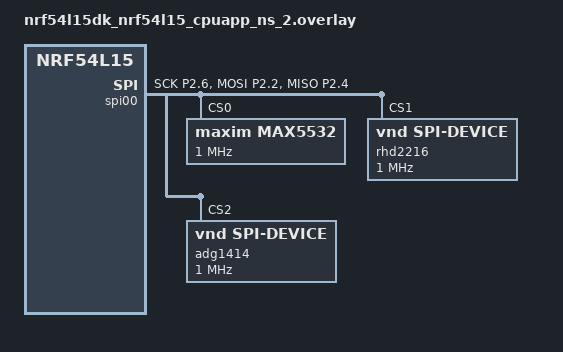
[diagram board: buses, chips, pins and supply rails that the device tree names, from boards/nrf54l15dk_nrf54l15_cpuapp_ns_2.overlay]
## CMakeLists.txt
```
cmake_minimum_required(VERSION 3.20.0)
find_package(Zephyr REQUIRED HINTS $ENV{ZEPHYR_BASE})

project(test)

target_sources(app PRIVATE src/mainRecording.c)
```

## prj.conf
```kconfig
CONFIG_GPIO=y
CONFIG_PINCTRL=y
CONFIG_SPI=y

# Optional: Enable logging and printk
CONFIG_PRINTK=y
# CONFIG_LOG_MODE_DEFERRED=y
CONFIG_LOG_MODE_IMMEDIATE=y

# Optional: Enable main thread
CONFIG_MAIN_STACK_SIZE=1024

# Logging over RTT instead of UART
CONFIG_USE_SEGGER_RTT=y
CONFIG_LOG=y
CONFIG_LOG_BACKEND_RTT=y
CONFIG_LOG_BACKEND_UART=n

# Disable console (optional if you don’t need printk)
CONFIG_CONSOLE=y
CONFIG_UART_CONSOLE=n
CONFIG_RTT_CONSOLE=y
CONFIG_SERIAL=n

CONFIG_CLOCK_CONTROL_NRF_K32SRC_RC=y
CONFIG_CLOCK_CONTROL_NRF_K32SRC_XTAL=n
CONFIG_CLOCK_CONTROL_NRF_CALIBRATION_LF_ALWAYS_ON=y
CONFIG_CLOCK_CONTROL_NRF_K32SRC_500PPM=y

# BLE 
CONFIG_BT=y
CONFIG_BT_PERIPHERAL=y
CONFIG_BT_DEVICE_NAME="NeuralImplant"
CONFIG_BT_DEVICE_APPEARANCE=0
CONFIG_BT_MAX_CONN=1

# CONFIG_SPI_NRFX=y
```

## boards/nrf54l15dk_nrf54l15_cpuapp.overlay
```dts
/* 
&spi00 {
    compatible = "nordic,nrf-spim";
    status = "okay";
    pinctrl-0 = <&spi00_default>;
    pinctrl-1 = <&spi00_sleep>;
    pinctrl-names = "default", "sleep";

    cs-gpios = <&gpio2 10 GPIO_ACTIVE_LOW>;  // P2.10 = CS

    max5532: max5532@0 {
        compatible = "vnd,spi-device";
        //label = "max5532";         // <--- REQUIRED
        reg = <0>;                          // CS index 0
        spi-max-frequency = <10000000>;     // 10 MHz
    };
};

&pinctrl {
    spi00_default: spi00_default {
        group1 {
            psels = <NRF_PSEL(SPIM_SCK, 2, 6)>,    // P2.06 = SCK
                    <NRF_PSEL(SPIM_MOSI, 2, 2)>;   // P2.02 = MOSI
            // MISO not needed
        };
    };

    spi00_sleep: spi00_sleep {
        group1 {
            psels = <NRF_PSEL(SPIM_SCK, 2, 6)>,
                    <NRF_PSEL(SPIM_MOSI, 2, 2)>;
            low-power-enable;
        };
    };
};

&uart00 {
    status = "disabled";
};

*/

&spi00 {
    compatible = "nordic,nrf-spim";
    status = "okay";
    pinctrl-0 = <&spi00_default>;
    pinctrl-1 = <&spi00_sleep>;
    pinctrl-names = "default", "sleep";

    max5532: max5532@0 {
        compatible = "vnd,spi-device";
        label = "max5532";         // <--- REQUIRED
        reg = <0>;
        spi-max-frequency = <10000000>;
    };
};

&pinctrl {
    spi00_default: spi00_default {
        group1 {
            psels = <NRF_PSEL(SPIM_SCK, 2, 6)>,
                    <NRF_PSEL(SPIM_MOSI, 2, 2)>;
        };
    };

    spi00_sleep: spi00_sleep {
        group1 {
            psels = <NRF_PSEL(SPIM_SCK, 2, 6)>,
                    <NRF_PSEL(SPIM_MOSI, 2, 2)>;
            low-power-enable;
        };
    };
};

&uart00 {
    status = "disabled";
};
```

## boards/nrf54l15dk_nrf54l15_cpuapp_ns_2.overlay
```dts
/*
&spi00 {
    compatible = "nordic,nrf-spim";
    status = "okay";
    pinctrl-0 = <&spi00_default>;
    pinctrl-1 = <&spi00_sleep>;
    pinctrl-names = "default", "sleep";

    max5532: max5532@0 {
        compatible = "maxim,max5532";
        reg = <0>;
        spi-max-frequency = <10000000>;
    };
};

&pinctrl {
    spi00_default: spi00_default {
        group1 {
            psels = <NRF_PSEL(SPIM_SCK, 2, 6)>,
                    <NRF_PSEL(SPIM_MOSI, 2, 2)>;
        };
    };

    spi00_sleep: spi00_sleep {
        group1 {
            psels = <NRF_PSEL(SPIM_SCK, 2, 6)>,
                    <NRF_PSEL(SPIM_MOSI, 2, 2)>;
            low-power-enable;
        };
    };
};

&mx25r64 {
    status = "disabled";
};
*/

&spi00 {
    compatible = "nordic,nrf-spim";
    status = "okay";
    pinctrl-0 = <&spi00_default>;
    pinctrl-1 = <&spi00_sleep>;
    pinctrl-names = "default", "sleep";

    max5532: max5532@0 {
        compatible = "maxim,max5532";
        reg = <0>;
        spi-max-frequency = <1000000>;
    };

    rhd2216: rhd2216@1 {
        compatible = "vnd,spi-device";
        reg = <1>;
        spi-max-frequency = <1000000>;
    };

    adg1414: adg1414@2 {
        compatible = "vnd,spi-device";
        reg = <2>;
        spi-max-frequency = <1000000>;
    };
};

&pinctrl {
    spi00_default: spi00_default {
        group1 {
            psels = <NRF_PSEL(SPIM_SCK, 2, 6)>,
                    <NRF_PSEL(SPIM_MOSI, 2, 2)>,
                    <NRF_PSEL(SPIM_MISO, 2, 4)>;
        };
    };

    spi00_sleep: spi00_sleep {
        group1 {
            psels = <NRF_PSEL(SPIM_SCK, 2, 6)>,
                    <NRF_PSEL(SPIM_MOSI, 2, 2)>,
                    <NRF_PSEL(SPIM_MISO, 2, 4)>;
            low-power-enable;
        };
    };
};

&mx25r64 {
    status = "disabled";
};
```

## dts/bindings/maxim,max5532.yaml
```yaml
# max5532.yaml
description: MAX5532 SPI DAC

compatible: "maxim,max5532"

include: spi-device.yaml

properties:
  vref-supply:
    type: phandle
    required: false
    description: Optional reference voltage supply
```

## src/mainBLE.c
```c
#include <zephyr/kernel.h>
#include <zephyr/bluetooth/bluetooth.h>
#include <zephyr/bluetooth/gap.h>
#include <zephyr/bluetooth/gatt.h>
#include <zephyr/bluetooth/uuid.h>
#include <zephyr/sys/printk.h>

// Custom Service UUID
#define BT_UUID_STIM_SERVICE_VAL \
    BT_UUID_128_ENCODE(0x12345678, 0x1234, 0x5678, 0x1234, 0x56789abcdef0)

// Characteristic UUIDs
#define BT_UUID_PULSE_WIDTH_VAL \
    BT_UUID_128_ENCODE(0x12345678, 0x1234, 0x5678, 0x1234, 0x56789abcdef1)

#define BT_UUID_FREQUENCY_VAL \
    BT_UUID_128_ENCODE(0x12345678, 0x1234, 0x5678, 0x1234, 0x56789abcdef2)

#define BT_UUID_AMPLITUDE_VAL \
    BT_UUID_128_ENCODE(0x12345678, 0x1234, 0x5678, 0x1234, 0x56789abcdef3)

#define BT_UUID_STIM_ENABLE_VAL \
    BT_UUID_128_ENCODE(0x12345678, 0x1234, 0x5678, 0x1234, 0x56789abcdef4)

static struct bt_uuid_128 stim_service_uuid = BT_UUID_INIT_128(BT_UUID_STIM_SERVICE_VAL);
static struct bt_uuid_128 pulse_width_uuid  = BT_UUID_INIT_128(BT_UUID_PULSE_WIDTH_VAL);
static struct bt_uuid_128 frequency_uuid    = BT_UUID_INIT_128(BT_UUID_FREQUENCY_VAL);
static struct bt_uuid_128 amplitude_uuid    = BT_UUID_INIT_128(BT_UUID_AMPLITUDE_VAL);
static struct bt_uuid_128 stim_enable_uuid  = BT_UUID_INIT_128(BT_UUID_STIM_ENABLE_VAL);

// Current stimulation parameters
static uint16_t pulse_width_us = 1000;   // default 1ms
static uint16_t frequency_hz   = 50;     // default 50Hz
static uint16_t amplitude_val  = 0xCBA;  // default 7.72mA DAC value
static uint8_t  stim_enabled   = 0;      // default off

// Write callbacks
static ssize_t write_pulse_width(struct bt_conn *conn,
                                  const struct bt_gatt_attr *attr,
                                  const void *buf, uint16_t len,
                                  uint16_t offset, uint8_t flags)
{
    if (len != sizeof(uint16_t)) {
        return BT_GATT_ERR(BT_ATT_ERR_INVALID_ATTRIBUTE_LEN);
    }
    memcpy(&pulse_width_us, buf, len);
    printk("Pulse width updated: %d us\n", pulse_width_us);
    return len;
}

static ssize_t write_frequency(struct bt_conn *conn,
                                const struct bt_gatt_attr *attr,
                                const void *buf, uint16_t len,
                                uint16_t offset, uint8_t flags)
{
    if (len != sizeof(uint16_t)) {
        return BT_GATT_ERR(BT_ATT_ERR_INVALID_ATTRIBUTE_LEN);
    }
    memcpy(&frequency_hz, buf, len);
    printk("Frequency updated: %d Hz\n", frequency_hz);
    return len;
}

static ssize_t write_amplitude(struct bt_conn *conn,
                                const struct bt_gatt_attr *attr,
                                const void *buf, uint16_t len,
                                uint16_t offset, uint8_t flags)
{
    if (len != sizeof(uint16_t)) {
        return BT_GATT_ERR(BT_ATT_ERR_INVALID_ATTRIBUTE_LEN);
    }
    memcpy(&amplitude_val, buf, len);
    printk("Amplitude updated: 0x%03X\n", amplitude_val);
    return len;
}

static ssize_t write_stim_enable(struct bt_conn *conn,
                                  const struct bt_gatt_attr *attr,
                                  const void *buf, uint16_t len,
                                  uint16_t offset, uint8_t flags)
{
    if (len != sizeof(uint8_t)) {
        return BT_GATT_ERR(BT_ATT_ERR_INVALID_ATTRIBUTE_LEN);
    }
    memcpy(&stim_enabled, buf, len);
    printk("Stim enable updated: %d\n", stim_enabled);
    return len;
}

// GATT Service Definition
BT_GATT_SERVICE_DEFINE(stim_svc,
    BT_GATT_PRIMARY_SERVICE(&stim_service_uuid),

    BT_GATT_CHARACTERISTIC(&pulse_width_uuid.uuid,
                            BT_GATT_CHRC_WRITE | BT_GATT_CHRC_WRITE_WITHOUT_RESP,
                            BT_GATT_PERM_WRITE,
                            NULL, write_pulse_width, &pulse_width_us),

    BT_GATT_CHARACTERISTIC(&frequency_uuid.uuid,
                            BT_GATT_CHRC_WRITE | BT_GATT_CHRC_WRITE_WITHOUT_RESP,
                            BT_GATT_PERM_WRITE,
                            NULL, write_frequency, &frequency_hz),

    BT_GATT_CHARACTERISTIC(&amplitude_uuid.uuid,
                            BT_GATT_CHRC_WRITE | BT_GATT_CHRC_WRITE_WITHOUT_RESP,
                            BT_GATT_PERM_WRITE,
                            NULL, write_amplitude, &amplitude_val),

    BT_GATT_CHARACTERISTIC(&stim_enable_uuid.uuid,
                            BT_GATT_CHRC_WRITE | BT_GATT_CHRC_WRITE_WITHOUT_RESP,
                            BT_GATT_PERM_WRITE,
                            NULL, write_stim_enable, &stim_enabled),
);

// Advertisement data
static const struct bt_data ad[] = {
    BT_DATA_BYTES(BT_DATA_FLAGS,
                  BT_LE_AD_GENERAL | BT_LE_AD_NO_BREDR),
    BT_DATA(BT_DATA_NAME_COMPLETE,
            CONFIG_BT_DEVICE_NAME,
            sizeof(CONFIG_BT_DEVICE_NAME) - 1),
};

// Connection callbacks
static void connected(struct bt_conn *conn, uint8_t err)
{
    if (err) {
        printk("Connection failed: %d\n", err);
        return;
    }
    printk("Connected!\n");
}

static void disconnected(struct bt_conn *conn, uint8_t reason)
{
    printk("Disconnected, reason: %d\n", reason);
    // Restart advertising after disconnect
    bt_le_adv_start(BT_LE_ADV_CONN, ad, ARRAY_SIZE(ad), NULL, 0);
}

static struct bt_conn_cb conn_callbacks = {
    .connected    = connected,
    .disconnected = disconnected,
};

static void bt_ready(int err)
{
    if (err) {
        printk("Bluetooth init failed: %d\n", err);
        return;
    }
    printk("Bluetooth initialized\n");

    bt_conn_cb_register(&conn_callbacks);

    err = bt_le_adv_start(BT_LE_ADV_CONN, ad, ARRAY_SIZE(ad), NULL, 0);
    if (err) {
        printk("Advertising failed to start: %d\n", err);
        return;
    }
    printk("Advertising as '%s'\n", CONFIG_BT_DEVICE_NAME);
}

void main(void)
{
    int err = bt_enable(bt_ready);
    if (err) {
        printk("bt_enable failed: %d\n", err);
        return;
    }

    while (1) {
        k_msleep(1000);
        printk("PW:%dus Freq:%dHz Amp:0x%03X En:%d\n",
               pulse_width_us, frequency_hz,
               amplitude_val, stim_enabled);
    }
}
```

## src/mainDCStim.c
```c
#include <zephyr/kernel.h>
#include <zephyr/device.h>
#include <zephyr/drivers/spi.h>
#include <zephyr/drivers/gpio.h>
#include <zephyr/sys/printk.h>

#define DAC_NODE DT_NODELABEL(max5532)

#define SPIOP (SPI_WORD_SET(8) | SPI_TRANSFER_MSB | SPI_MODE_CPOL | SPI_MODE_CPHA | SPI_CS_ACTIVE_HIGH)

struct spi_dt_spec spispec = SPI_DT_SPEC_GET(DAC_NODE, SPIOP, 0);
const struct device *port1 = DEVICE_DT_GET(DT_NODELABEL(gpio1));
const struct device *port2 = DEVICE_DT_GET(DT_NODELABEL(gpio2));

#define CS1_PIN 10
#define CS2_PIN  5
#define CS3_PIN  8

void cs_select(int cs)
{
    gpio_pin_set(port2, CS1_PIN, cs == 1 ? 0 : 1);
    gpio_pin_set(port2, CS2_PIN, cs == 2 ? 0 : 1);
    gpio_pin_set(port2, CS3_PIN, cs == 3 ? 0 : 1);
}

void cs_deselect_all(void)
{
    gpio_pin_set(port2, CS1_PIN, 1);
    gpio_pin_set(port2, CS2_PIN, 1);
    gpio_pin_set(port2, CS3_PIN, 1);
}

void send_dac_command(uint8_t command, uint16_t data)
{
    uint16_t word = ((command & 0x0F) << 12) | (data & 0x0FFF);

    uint8_t tx_buf[2] = {
        (uint8_t)(word >> 8),
        (uint8_t)(word & 0xFF)
    };

    struct spi_buf spi_buf = {
        .buf = tx_buf,
        .len = sizeof(tx_buf),
    };

    struct spi_buf_set tx = {
        .buffers = &spi_buf,
        .count = 1,
    };

    cs_select(1);
    k_msleep(1);
    int err = spi_write_dt(&spispec, &tx);
    cs_deselect_all();

    if (err == 0) {
        printk("DAC command sent: 0x%04X (cmd 0x%X, data 0x%03X)\n", word, command, data);
    } else {
        printk("SPI write failed: %d\n", err);
    }
}

void main(void)
{
    if (!device_is_ready(port1)) {
        printk("Port 1 not ready\n");
        return;
    }

    if (!device_is_ready(port2)) {
        printk("Port 2 not ready\n");
        return;
    }

    printk("Both ports ready\n");

    int ret;

    // MUX1_A0 - P1.00 - should be HIGH (1)
    ret = gpio_pin_configure(port1, 0, GPIO_OUTPUT);
    printk("P1.00 config ret: %d\n", ret);
    ret = gpio_pin_set(port1, 0, 1);
    printk("P1.00 set HIGH ret: %d\n", ret);

    // MUX1_A1 - P1.01 - should be LOW (0)
    ret = gpio_pin_configure(port1, 1, GPIO_OUTPUT);
    printk("P1.01 config ret: %d\n", ret);
    ret = gpio_pin_set(port1, 1, 0);
    printk("P1.01 set LOW ret: %d\n", ret);

    // MUX1_A2 - P1.02 - should be LOW (0)
    ret = gpio_pin_configure(port1, 2, GPIO_OUTPUT);
    printk("P1.02 config ret: %d\n", ret);
    ret = gpio_pin_set(port1, 2, 0);
    printk("P1.02 set LOW ret: %d\n", ret);

    // MUX2_A0 - P1.03 - should be LOW (0)
    ret = gpio_pin_configure(port1, 3, GPIO_OUTPUT);
    printk("P1.03 config ret: %d\n", ret);
    ret = gpio_pin_set(port1, 3, 0);
    printk("P1.03 set LOW ret: %d\n", ret);

    // MUX2_A1 - P1.04 - should be HIGH (1)
    ret = gpio_pin_configure(port1, 4, GPIO_OUTPUT);
    printk("P1.04 config ret: %d\n", ret);
    ret = gpio_pin_set(port1, 4, 1);
    printk("P1.04 set HIGH ret: %d\n", ret);

    // MUX2_A2 - P1.05 - should be LOW (0)
    ret = gpio_pin_configure(port1, 5, GPIO_OUTPUT);
    printk("P1.05 config ret: %d\n", ret);
    ret = gpio_pin_set(port1, 5, 0);
    printk("P1.05 set LOW ret: %d\n", ret);

    // MUX_EN - P1.06 - should be HIGH (1)
    ret = gpio_pin_configure(port1, 6, GPIO_OUTPUT);
    printk("P1.06 config ret: %d\n", ret);
    ret = gpio_pin_set(port1, 6, 1);
    printk("P1.06 set HIGH ret: %d\n", ret);

    // BOOST_EN - P1.07 - should be HIGH (1)
    ret = gpio_pin_configure(port1, 7, GPIO_OUTPUT);
    printk("P1.07 config ret: %d\n", ret);
    ret = gpio_pin_set(port1, 7, 1);
    printk("P1.07 set HIGH ret: %d\n", ret);

    // CS1 (P2.10) - DAC
    ret = gpio_pin_configure(port2, CS1_PIN, GPIO_OUTPUT);
    printk("CS1 P2.10 config ret: %d\n", ret);

    // CS2 (P2.05) - Intan
    ret = gpio_pin_configure(port2, CS2_PIN, GPIO_OUTPUT);
    printk("CS2 P2.05 config ret: %d\n", ret);

    // CS3 (P2.08) - SPST
    ret = gpio_pin_configure(port2, CS3_PIN, GPIO_OUTPUT);
    printk("CS3 P2.08 config ret: %d\n", ret);

    cs_deselect_all();
    k_msleep(50);

    if (!spi_is_ready_dt(&spispec)) {
        printk("DAC SPI device not ready!\n");
        return;
    }

    printk("SPI device ready, starting DAC communication...\n");
    k_msleep(100);

    send_dac_command(0xD, 0x800);
    send_dac_command(0xD, 0x800);
    send_dac_command(0xF, 0xCBA);

    printk("All done. Entering while loop.\n");

    while (1) {
    }
}
```

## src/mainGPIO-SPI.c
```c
#include <zephyr/kernel.h>
#include <zephyr/device.h>
#include <zephyr/drivers/spi.h>
#include <zephyr/drivers/gpio.h>
#include <zephyr/sys/printk.h>

#define DAC_NODE DT_NODELABEL(max5532)

#define SPIOP (SPI_WORD_SET(8) | SPI_TRANSFER_MSB | SPI_MODE_CPOL | SPI_MODE_CPHA)

struct spi_dt_spec spispec = SPI_DT_SPEC_GET(DAC_NODE, SPIOP, 0);
const struct device *port1 = DEVICE_DT_GET(DT_NODELABEL(gpio1));
const struct device *port2 = DEVICE_DT_GET(DT_NODELABEL(gpio2));

// CS pin definitions on Port 2
// Pin 21 -> P2.10 = CS1 (active by default)
// Pin 16 -> P2.05 = CS2
// Pin 19 -> P2.08 = CS3
#define CS1_PIN 10
#define CS2_PIN  5
#define CS3_PIN  8

// CS is active-low: 0 = selected, 1 = deselected
void cs_select(int cs)
{
    gpio_pin_set(port2, CS1_PIN, cs == 1 ? 0 : 1);
    gpio_pin_set(port2, CS2_PIN, cs == 2 ? 0 : 1);
    gpio_pin_set(port2, CS3_PIN, cs == 3 ? 0 : 1);
}

void cs_deselect_all(void)
{
    gpio_pin_set(port2, CS1_PIN, 1);
    gpio_pin_set(port2, CS2_PIN, 1);
    gpio_pin_set(port2, CS3_PIN, 1);
}

void send_dac_command(uint8_t command, uint16_t data)
{
    uint16_t word = ((command & 0x0F) << 12) | (data & 0x0FFF);

    uint8_t tx_buf[2] = {
        (uint8_t)(word >> 8),
        (uint8_t)(word & 0xFF)
    };

    struct spi_buf spi_buf = {
        .buf = tx_buf,
        .len = sizeof(tx_buf),
    };

    struct spi_buf_set tx = {
        .buffers = &spi_buf,
        .count = 1,
    };

    int err = spi_write_dt(&spispec, &tx);
    if (err == 0) {
        printk("DAC command sent: 0x%04X (cmd 0x%X, data 0x%03X)\n", word, command, data);
    } else {
        printk("SPI write failed: %d\n", err);
    }
}

void main(void)
{
    if (!device_is_ready(port1)) {
        printk("Port 1 not ready\n");
        return;
    }

    if (!device_is_ready(port2)) {
        printk("Port 2 not ready\n");
        return;
    }

    int ret;

    printk("Test...\n");
    printf("Test...\n");


    // MUX1_A0
    ret = gpio_pin_configure(port1, 0, GPIO_OUTPUT);
    gpio_pin_set(port1, 0, 1);
    if (ret != 0) { printk("Failed to configure P1.%02d\n", 0); }

    // MUX1_A1
    ret = gpio_pin_configure(port1, 1, GPIO_OUTPUT);
    gpio_pin_set(port1, 1, 0);
    if (ret != 0) { printk("Failed to configure P1.%02d\n", 1); }

    // MUX1_A2
    ret = gpio_pin_configure(port1, 2, GPIO_OUTPUT);
    gpio_pin_set(port1, 2, 0);
    if (ret != 0) { printk("Failed to configure P1.%02d\n", 2); }

    // MUX2_A0
    ret = gpio_pin_configure(port1, 3, GPIO_OUTPUT);
    gpio_pin_set(port1, 3, 0);
    if (ret != 0) { printk("Failed to configure P1.%02d\n", 3); }

    printk("Test2...\n");

    // MUX2_A1
    ret = gpio_pin_configure(port1, 4, GPIO_OUTPUT);
    gpio_pin_set(port1, 4, 1);
    if (ret != 0) { printk("Failed to configure P1.%02d\n", 4); }

    // MUX2_A2
    ret = gpio_pin_configure(port1, 5, GPIO_OUTPUT);
    gpio_pin_set(port1, 5, 0);
    if (ret != 0) { printk("Failed to configure P1.%02d\n", 5); }

    // MUX_EN
    ret = gpio_pin_configure(port1, 6, GPIO_OUTPUT);
    gpio_pin_set(port1, 6, 1);
    if (ret != 0) { printk("Failed to configure P1.%02d\n", 6); }

    // CS1 (Pin 21, P2.10) - active by default (low)
    ret = gpio_pin_configure(port2, CS1_PIN, GPIO_OUTPUT);
    if (ret != 0) { printk("Failed to configure CS1 (P2.%02d)\n", CS1_PIN); }

    // CS2 (Pin 16, P2.05) - inactive by default (high)
    ret = gpio_pin_configure(port2, CS2_PIN, GPIO_OUTPUT);
    if (ret != 0) { printk("Failed to configure CS2 (P2.%02d)\n", CS2_PIN); }

    // CS3 (Pin 19, P2.08) - inactive by default (high)
    ret = gpio_pin_configure(port2, CS3_PIN, GPIO_OUTPUT);
    if (ret != 0) { printk("Failed to configure CS3 (P2.%02d)\n", CS3_PIN); }

    // Default state: CS1 active (low), CS2 and CS3 inactive (high)
    cs_select(1);

    if (!spi_is_ready_dt(&spispec)) {
        printk("DAC SPI device not ready!\n");
        return;
    }

    printk("SPI device ready, starting DAC communication...\n");

    // send_dac_command(0xD, 0x800);
    send_dac_command(0xD, 0x800);
    send_dac_command(0xF, 0xFFF);
    // send_dac_command(0xF, 0xBE1);  // VOUT = 2.425 × 3041/4096 ≈ 1.800V

    while (1) {
        // To switch active CS, call cs_select(2) or cs_select(3) before sending
    }
}
```

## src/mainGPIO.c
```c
#include <zephyr/kernel.h>
#include <zephyr/device.h>
#include <zephyr/devicetree.h>
#include <zephyr/drivers/gpio.h>
#include <zephyr/sys/printk.h>

const struct device *port1 = DEVICE_DT_GET(DT_NODELABEL(gpio1));

void main(void)
{
    if (!device_is_ready(port1)) {
        printk("Port 1 not ready\n");
        return;
    }

    for (int pin = 4; pin <= 8; pin++) {
        int ret;

        // Configure pin as output, initially HIGH
        ret = gpio_pin_configure(port1, pin, GPIO_OUTPUT);
        gpio_pin_set(port1, pin, 1);
        if (ret != 0) {
            printk("Failed to configure P1.%02d\n", pin);
        }
        int level = gpio_pin_get(port1, pin);
        printk("Pin %d = %d\n", pin, level); // Should print 1
    }


    while (1) {
        k_sleep(K_MSEC(1));
    }
}
```

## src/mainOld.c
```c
#include <zephyr/kernel.h>
#include <zephyr/device.h>
#include <zephyr/drivers/spi.h>
#include <zephyr/sys/printk.h>

#define DAC_NODE DT_NODELABEL(max5532)

// Fix 1: Correct SPI operation flags
#define SPIOP (SPI_WORD_SET(8) | SPI_TRANSFER_MSB | SPI_MODE_CPOL | SPI_MODE_CPHA)

// Fix 2: Use proper SPI configuration
struct spi_dt_spec spispec = SPI_DT_SPEC_GET(DAC_NODE, SPIOP, 0);
const struct device *port1 = DEVICE_DT_GET(DT_NODELABEL(gpio1));

void send_dac_command(uint8_t command, uint16_t data)
{
    // Format: 4-bit command (MSBs) + 12-bit data (LSBs)
    uint16_t word = ((command & 0x0F) << 12) | (data & 0x0FFF);

    uint8_t tx_buf[2] = {
        (uint8_t)(word >> 8),
        (uint8_t)(word & 0xFF)
    };

    struct spi_buf spi_buf = {
        .buf = tx_buf,
        .len = sizeof(tx_buf),
    };

    struct spi_buf_set tx = {
        .buffers = &spi_buf,
        .count = 1,
    };

    // Fix 3: Use the spi_dt_spec structure properly
    int err = spi_write_dt(&spispec, &tx);
    if (err == 0) {
        printk("DAC command sent: 0x%04X (cmd 0x%X, data 0x%03X)\n", word, command, data);
    } else {
        printk("SPI write failed: %d\n", err);
    }
}

void main(void)
{
    if (!device_is_ready(port1)) {
        printk("Port 1 not ready\n");
        return;
    }
    int ret;
    //MUX1_A0
    ret = gpio_pin_configure(port1, 0, GPIO_OUTPUT);
    gpio_pin_set(port1, 0, 1);
    if (ret != 0) {
        printk("Failed to configure P1.%02d\n", 0);
    }
    //MUX1_A1
    ret = gpio_pin_configure(port1, 1, GPIO_OUTPUT);
    gpio_pin_set(port1, 1, 0);
    if (ret != 0) {
        printk("Failed to configure P1.%02d\n", 1);
    }
    //MUX1_A2
    ret = gpio_pin_configure(port1, 2, GPIO_OUTPUT);
    gpio_pin_set(port1, 2, 0);
    if (ret != 0) {
        printk("Failed to configure P1.%02d\n", 2);
    }
    //MUX2_A0
    ret = gpio_pin_configure(port1, 3, GPIO_OUTPUT);
    gpio_pin_set(port1, 3, 0);
    if (ret != 0) {
        printk("Failed to configure P1.%02d\n", 3);
    }
    //MUX2_A1
    ret = gpio_pin_configure(port1, 4, GPIO_OUTPUT);
    gpio_pin_set(port1, 4, 1);
    if (ret != 0) {
        printk("Failed to configure P1.%02d\n", 4);
    }
    //MUX2_A2
    ret = gpio_pin_configure(port1, 5, GPIO_OUTPUT);
    gpio_pin_set(port1, 5, 0);
    if (ret != 0) {
        printk("Failed to configure P1.%02d\n", 5);
    }
    //MUX_EN
    ret = gpio_pin_configure(port1, 6, GPIO_OUTPUT);
    gpio_pin_set(port1, 6, 1);
    if (ret != 0) {
        printk("Failed to configure P1.%02d\n", 6);
    }
    // BOOST_EN
    // ret = gpio_pin_configure(port1, 7, GPIO_OUTPUT);
    // gpio_pin_set(port1, 7, 1);
    // if (ret != 0) {
    //     printk("Failed to configure P1.%02d\n", 7);
    //}
    
    // Fix 4: Check if SPI device is ready
    if (!spi_is_ready_dt(&spispec)) {
        printk("DAC SPI device not ready!\n");
        return;
    }

    printk("SPI device ready, starting DAC communication...\n");

    // Fix 5: Use correct MAX5532 command - 0xF for Write & Update DAC A
    send_dac_command(0xD, 0x800);  // Configure DAC A to 2.425V internal reference
    send_dac_command(0xF, 0xBE1);  // Send 0xFFFF (maximum DAC Output of (4095/4096) * 2.425V )
    while (1) {
        //k_sleep(K_MSEC(1));
        //send_dac_command(0xF, 0x81D);  // Mid-scale to DAC A
        //send_dac_command(0xF, 0xFFF);  // Full scale to DAC A
    }
}
```

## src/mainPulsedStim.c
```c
#include <zephyr/kernel.h>
#include <zephyr/device.h>
#include <zephyr/drivers/spi.h>
#include <zephyr/drivers/gpio.h>
#include <zephyr/sys/printk.h>

#define DAC_NODE DT_NODELABEL(max5532)

#define SPIOP (SPI_WORD_SET(8) | SPI_TRANSFER_MSB | SPI_MODE_CPOL | SPI_MODE_CPHA | SPI_CS_ACTIVE_HIGH)

struct spi_dt_spec spispec = SPI_DT_SPEC_GET(DAC_NODE, SPIOP, 0);
const struct device *port1 = DEVICE_DT_GET(DT_NODELABEL(gpio1));
const struct device *port2 = DEVICE_DT_GET(DT_NODELABEL(gpio2));

// CS pin definitions on Port 2
#define CS1_PIN 10  // Pin 21, P2.10 - DAC
#define CS2_PIN  5  // Pin 16, P2.05 - Intan
#define CS3_PIN  8  // Pin 19, P2.08 - SPST

// Biphasic stimulation parameters
#define STIM_PULSE_WIDTH_US  250   // 250us pulse width
#define STIM_PERIOD_US       25000  // 20ms = 50Hz
#define STIM_INTERPHASE_US    25000   // interphase gap WTF!!!!! HOW DOES THIS WORK?

// CS control
void cs_select(int cs)
{
    gpio_pin_set(port2, CS1_PIN, cs == 1 ? 0 : 1);
    gpio_pin_set(port2, CS2_PIN, cs == 2 ? 0 : 1);
    gpio_pin_set(port2, CS3_PIN, cs == 3 ? 0 : 1);
}

void cs_deselect_all(void)
{
    gpio_pin_set(port2, CS1_PIN, 1);
    gpio_pin_set(port2, CS2_PIN, 1);
    gpio_pin_set(port2, CS3_PIN, 1);
}

// MUX control
void mux_disable(void)
{
    gpio_pin_set(port1, 6, 0);  // MUX_EN low
}

void mux_enable(void)
{
    gpio_pin_set(port1, 6, 1);  // MUX_EN high
}

void mux_set_phase1(void)
{
    // MUX1: A0=0, A1=0, A2=0 -> Ch1 (anode)
    gpio_pin_set(port1, 0, 0);  // MUX1_A0
    gpio_pin_set(port1, 1, 0);  // MUX1_A1
    gpio_pin_set(port1, 2, 0);  // MUX1_A2

    // k_usleep(100);

    // MUX2: A0=0, A1=1, A2=0 -> Ch3 (cathode)
    gpio_pin_set(port1, 3, 0);  // MUX2_A0
    gpio_pin_set(port1, 4, 1);  // MUX2_A1
    gpio_pin_set(port1, 5, 0);  // MUX2_A2
}

void mux_set_phase2(void)
{
    // MUX1: A0=0, A1=1, A2=0 -> Ch3 (anode)
    gpio_pin_set(port1, 0, 0);  // MUX1_A0
    gpio_pin_set(port1, 1, 1);  // MUX1_A1
    gpio_pin_set(port1, 2, 0);  // MUX1_A2

    // k_usleep(100);

    // MUX2: A0=0, A1=0, A2=0 -> Ch1 (cathode)
    gpio_pin_set(port1, 3, 0);  // MUX2_A0
    gpio_pin_set(port1, 4, 0);  // MUX2_A1
    gpio_pin_set(port1, 5, 0);  // MUX2_A2
}

// SPI / DAC
void send_dac_command(uint8_t command, uint16_t data)
{
    uint16_t word = ((command & 0x0F) << 12) | (data & 0x0FFF);

    uint8_t tx_buf[2] = {
        (uint8_t)(word >> 8),
        (uint8_t)(word & 0xFF)
    };

    struct spi_buf spi_buf = {
        .buf = tx_buf,
        .len = sizeof(tx_buf),
    };

    struct spi_buf_set tx = {
        .buffers = &spi_buf,
        .count = 1,
    };

    cs_select(1);
    int err = spi_write_dt(&spispec, &tx);
    cs_deselect_all();

    if (err == 0) {
        printk("DAC command sent: 0x%04X (cmd 0x%X, data 0x%03X)\n", word, command, data);
    } else {
        printk("SPI write failed: %d\n", err);
    }
}

// Biphasic stimulation cycle
void biphasic_stim_cycle(void)
{
    // Phase 1 - positive phase
    mux_set_phase1();
    mux_enable();
    k_usleep(STIM_PULSE_WIDTH_US);

    // Interphase - disable MUXes before switching
    mux_disable();    // SOMEHOW this should stay on??? Youd think it should be commented out to allow shorting!
    k_usleep(STIM_INTERPHASE_US);

    // Phase 2 - negative phase
    mux_set_phase2();
    mux_enable();
    k_usleep(STIM_PULSE_WIDTH_US);

    // End of cycle - disable MUXes
    mux_disable();

    // Remaining period time
    // Total active time = 2 * 250us + 50us = 550us
    // Remaining = 20000 - 550 = 19450us
    k_usleep(STIM_PERIOD_US - (2 * STIM_PULSE_WIDTH_US) - STIM_INTERPHASE_US);
}

void main(void)
{
    if (!device_is_ready(port1)) {
        printk("Port 1 not ready\n");
        return;
    }

    if (!device_is_ready(port2)) {
        printk("Port 2 not ready\n");
        return;
    }

    int ret;
    
    // MUX1_A0
    ret = gpio_pin_configure(port1, 0, GPIO_OUTPUT);
    gpio_pin_set(port1, 0, 0);
    if (ret != 0) { printk("Failed to configure P1.%02d\n", 0); }

    // MUX1_A1
    ret = gpio_pin_configure(port1, 1, GPIO_OUTPUT);
    gpio_pin_set(port1, 1, 0);
    if (ret != 0) { printk("Failed to configure P1.%02d\n", 1); }

    // MUX1_A2
    ret = gpio_pin_configure(port1, 2, GPIO_OUTPUT);
    gpio_pin_set(port1, 2, 0);
    if (ret != 0) { printk("Failed to configure P1.%02d\n", 2); }

    // MUX2_A0
    ret = gpio_pin_configure(port1, 3, GPIO_OUTPUT);
    gpio_pin_set(port1, 3, 0);
    if (ret != 0) { printk("Failed to configure P1.%02d\n", 3); }

    // MUX2_A1
    ret = gpio_pin_configure(port1, 4, GPIO_OUTPUT);
    gpio_pin_set(port1, 4, 1);
    if (ret != 0) { printk("Failed to configure P1.%02d\n", 4); }

    // MUX2_A2
    ret = gpio_pin_configure(port1, 5, GPIO_OUTPUT);
    gpio_pin_set(port1, 5, 0);
    if (ret != 0) { printk("Failed to configure P1.%02d\n", 5); }

    

    // MUX_EN - start disabled
    ret = gpio_pin_configure(port1, 6, GPIO_OUTPUT);
    gpio_pin_set(port1, 6, 0);
    if (ret != 0) { printk("Failed to configure P1.%02d\n", 6); }

    // BOOST_EN - start disabled
    ret = gpio_pin_configure(port1, 7, GPIO_OUTPUT);
    gpio_pin_set(port1, 7, 0);
    if (ret != 0) { printk("Failed to configure P1.%02d\n", 7); }

    // CS1 (P2.10) - DAC
    ret = gpio_pin_configure(port2, CS1_PIN, GPIO_OUTPUT);
    if (ret != 0) { printk("Failed to configure CS1 (P2.%02d)\n", CS1_PIN); }

    // CS2 (P2.05) - Intan
    ret = gpio_pin_configure(port2, CS2_PIN, GPIO_OUTPUT);
    if (ret != 0) { printk("Failed to configure CS2 (P2.%02d)\n", CS2_PIN); }

    // CS3 (P2.08) - SPST
    ret = gpio_pin_configure(port2, CS3_PIN, GPIO_OUTPUT);
    if (ret != 0) { printk("Failed to configure CS3 (P2.%02d)\n", CS3_PIN); }

    // Deassert all CS lines
    cs_deselect_all();

    if (!spi_is_ready_dt(&spispec)) {
        printk("DAC SPI device not ready!\n");
        return;
    }

    printk("SPI device ready, starting DAC communication...\n");

    // DAC setup - configure reference and output voltage
    k_msleep(10);
    send_dac_command(0xD, 0x800);  // 2.425V internal reference
    send_dac_command(0xD, 0x800);  // repeat for timing
    send_dac_command(0xF, 0xCBA);  // 1.93V output = 7.72mA

    // Set initial MUX state
    mux_set_phase2();
    mux_enable();

    // Enable boost and let it stabilize
    gpio_pin_set(port1, 7, 1);
    k_msleep(10);

    printk("Starting biphasic stimulation: 50Hz, 250us pulse width\n");
    printk("MUX2_A0 (P1.03) set to: %d\\n", gpio_pin_get(port1, 3));
    /*
    gpio_pin_set(port1, 0, 0);
    gpio_pin_set(port1, 1, 0);
    gpio_pin_set(port1, 2, 0);
    gpio_pin_set(port1, 3, 1);
    gpio_pin_set(port1, 4, 1);
    gpio_pin_set(port1, 5, 1);
    */

    while (1) {
        biphasic_stim_cycle();
        // Phase 1
        // send_dac_command(0xF, 0xCBA);  // 1.93V
        // k_usleep(250);

        // Switch MUX channels while EN stays HIGH
        // mux_set_phase2();
        
        // Phase 2  
        // k_usleep(250);

        // Switch back and go to 0
        // mux_set_phase1();
        // send_dac_command(0xF, 0x000);  // 0V
        // k_usleep(19500);
    }
}
```

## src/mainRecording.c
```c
#include <zephyr/kernel.h>
#include <zephyr/device.h>
#include <zephyr/drivers/spi.h>
#include <zephyr/drivers/gpio.h>
#include <zephyr/sys/printk.h>

// --- SPI device nodes ---
#define DAC_NODE   DT_NODELABEL(max5532)
#define INTAN_NODE DT_NODELABEL(rhd2216)
#define SPST_NODE  DT_NODELABEL(adg1414)

// --- SPI operation flags ---
// DAC: Mode 3 (CPOL=1, CPHA=1), 8-bit
#define SPIOP_DAC (SPI_WORD_SET(8) | SPI_TRANSFER_MSB | \
                   SPI_MODE_CPOL | SPI_MODE_CPHA)

// Intan: Mode 0 (CPOL=0, CPHA=0), 16-bit
// (NRF54L15 only supports 8-bit)
#define SPIOP_INTAN (SPI_WORD_SET(8) | SPI_TRANSFER_MSB)

// ADG1414: Mode 0 (CPOL=0, CPHA=0), 8-bit
#define SPIOP_SPST (SPI_WORD_SET(8) | SPI_TRANSFER_MSB)

// --- SPI specs ---
static struct spi_dt_spec dac_spec   = SPI_DT_SPEC_GET(DAC_NODE,   SPIOP_DAC,   0);
static struct spi_dt_spec intan_spec = SPI_DT_SPEC_GET(INTAN_NODE, SPIOP_INTAN, 0);
static struct spi_dt_spec spst_spec  = SPI_DT_SPEC_GET(SPST_NODE,  SPIOP_SPST,  0);


// --- GPIO ---
const struct device *port2 = DEVICE_DT_GET(DT_NODELABEL(gpio2));

#define CS1_PIN 10  // DAC
#define CS2_PIN  5  // Intan
#define CS3_PIN  8  // SPST

// --- CS control ---
void cs_select(int cs)
{
    gpio_pin_set(port2, CS1_PIN, cs == 1 ? 0 : 1);
    gpio_pin_set(port2, CS2_PIN, cs == 2 ? 0 : 1);
    gpio_pin_set(port2, CS3_PIN, cs == 3 ? 0 : 1);
}

void cs_deselect_all(void)
{
    gpio_pin_set(port2, CS1_PIN, 1);
    gpio_pin_set(port2, CS2_PIN, 1);
    gpio_pin_set(port2, CS3_PIN, 1);
}

// --- DAC ---
void send_dac_command(uint8_t command, uint16_t data)
{
    uint16_t word = ((command & 0x0F) << 12) | (data & 0x0FFF);
    uint8_t tx_buf[2] = {
        (uint8_t)(word >> 8),
        (uint8_t)(word & 0xFF)
    };
    struct spi_buf spi_buf = { .buf = tx_buf, .len = sizeof(tx_buf) };
    struct spi_buf_set tx  = { .buffers = &spi_buf, .count = 1 };

    cs_select(1);
    spi_write_dt(&dac_spec, &tx);
    cs_deselect_all();
}

// --- ADG1414 SPST switch ---
void spst_set(uint8_t switch_mask)
{
    uint8_t tx_buf = switch_mask;
    struct spi_buf spi_buf = { .buf = &tx_buf, .len = 1 };
    struct spi_buf_set tx  = { .buffers = &spi_buf, .count = 1 };

    cs_select(3);
    spi_write_dt(&spst_spec, &tx);
    cs_deselect_all();

    printk("SPST switches set: 0x%02X\n", switch_mask);
}

uint16_t intan_send(uint16_t command)
{
    uint8_t tx_buf[2] = {
        (uint8_t)(command >> 8),    // MSB first
        (uint8_t)(command & 0xFF)   // LSB second
    };
    uint8_t rx_buf[2] = {0, 0};

    struct spi_buf tx_spi = { .buf = tx_buf, .len = 2 };
    struct spi_buf rx_spi = { .buf = rx_buf, .len = 2 };
    struct spi_buf_set tx  = { .buffers = &tx_spi, .count = 1 };
    struct spi_buf_set rx  = { .buffers = &rx_spi, .count = 1 };

    cs_select(2);
    spi_transceive_dt(&intan_spec, &tx, &rx);
    cs_deselect_all();

    // Reconstruct 16-bit result from two received bytes
    return ((uint16_t)rx_buf[0] << 8) | rx_buf[1];
}

// --- Intan command macros ---
// CONVERT: bits[15:14]=00, bits[13:8]=channel
#define INTAN_CONVERT(ch)     ((uint16_t)((ch) & 0x3F) << 8)
// CALIBRATE: 0101 0101 0000 0000
#define INTAN_CALIBRATE       (0x5500)
// DUMMY: 0101 1010 0000 0000
#define INTAN_DUMMY           (0x5A00)
// WRITE register: bits[15:14]=11, bits[13:8]=reg, bits[7:0]=data
#define INTAN_WRITE(reg, val) ((uint16_t)(0xC000 | (((reg) & 0x3F) << 8) | ((val) & 0xFF)))
// READ register: bits[15:14]=11, bits[13:8]=reg, bits[7:0]=0
#define INTAN_READ(reg)       ((uint16_t)(0xC000 | (((reg) & 0x3F) << 8)))

// --- Convert raw ADC to nanovolts (avoid float) ---
// 0.195 uV/LSB, offset binary (0x8000 = 0V)
int32_t intan_to_nv(uint16_t raw)
{
    int16_t signed_val = (int16_t)((int32_t)raw - 0x8000);
    return (int32_t)signed_val * 195;  // result in nV (0.195uV = 195nV per LSB)
}

void intan_init(void)
{
    // Flush pipeline with dummy commands
    intan_send(INTAN_DUMMY);
    intan_send(INTAN_DUMMY);

    // Send calibrate command
    intan_send(INTAN_CALIBRATE);

    // 9 dummy cycles required after calibrate
    for (int i = 0; i < 9; i++) {
        intan_send(INTAN_DUMMY);
    }

    // Power down all amplifiers except channel 8
    // Register 14: amplifiers 0-7 (all off)
    intan_send(INTAN_WRITE(14, 0x00));
    // Register 15: amplifiers 8-15 (only amp 8 on = bit 0)
    intan_send(INTAN_WRITE(15, 0x01));

    // Set lower bandwidth to ~0.1 Hz
    intan_send(INTAN_WRITE(8, 28));   // RL_DAC1
    intan_send(INTAN_WRITE(9, 2));    // RL_DAC2

    // Set upper bandwidth to ~10 kHz
    intan_send(INTAN_WRITE(6, 21));   // RH1_DAC1
    intan_send(INTAN_WRITE(7, 8));    // RH1_DAC2

    // Flush pipeline after register writes
    intan_send(INTAN_DUMMY);
    intan_send(INTAN_DUMMY);

    printk("Intan initialized - only Ch8 powered\n");
}

// --- Main ---
void main(void)
{
    // GPIO init
    gpio_pin_configure(port2, CS1_PIN, GPIO_OUTPUT);
    gpio_pin_configure(port2, CS2_PIN, GPIO_OUTPUT);
    gpio_pin_configure(port2, CS3_PIN, GPIO_OUTPUT);
    cs_deselect_all();

    k_msleep(100);  // wait for power to stabilize

    // Verify SPI devices are ready
    if (!spi_is_ready_dt(&dac_spec)) {
        printk("DAC SPI not ready\n");
        return;
    }
    if (!spi_is_ready_dt(&intan_spec)) {
        printk("Intan SPI not ready\n");
        return;
    }
    if (!spi_is_ready_dt(&spst_spec)) {
        printk("SPST SPI not ready\n");
        return;
    }

    printk("All SPI devices ready\n");

    // Initialize Intan
    intan_init();

    // Close SPST switch S8 to connect Ch8 to Intan IN8+
    spst_set(0x80);  // bit7 = S8 closed

    printk("Starting recording on Ch8...\n");

    // Pipeline fill - two dummy converts before real data
    intan_send(INTAN_CONVERT(8));
    intan_send(INTAN_CONVERT(8));

    // Sampling loop at ~1 kHz
    while (1) {
        uint16_t raw = intan_send(INTAN_CONVERT(8));
        int32_t nv   = intan_to_nv(raw);

        // Print every 10 samples to avoid RTT flooding
        static int count = 0;
        if (++count >= 10) {
            count = 0;
            printk("Raw: 0x%04X  Voltage: %d nV\n", raw, nv);
        }

        k_msleep(1);  // 1ms = 1 kHz sample rate
    }
}
```

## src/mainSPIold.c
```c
// main.c
#include <zephyr/kernel.h>
#include <zephyr/device.h>
#include <zephyr/drivers/spi.h>
#include <zephyr/sys/printk.h>

 #define DAC_NODE DT_NODELABEL(max5532)

//static const struct device *spi_dev = DEVICE_DT_GET(DAC_NODE);
#define SPIOP	SPI_WORD_SET(8) | SPI_TRANSFER_MSB 
struct spi_dt_spec spispec = SPI_DT_SPEC_GET(DT_NODELABEL(max5532), SPIOP, 0);



void send_dac_command(uint8_t command, uint16_t data)
{
    // Format: 4-bit command (MSBs) + 12-bit data (LSBs)
    uint16_t word = ((command & 0x0F) << 12) | (data & 0x0FFF);

    uint8_t tx_buf[2] = {
        (uint8_t)(word >> 8),
        (uint8_t)(word & 0xFF)
    };

    struct spi_buf spi_buf = {
        .buf = tx_buf,
        .len = sizeof(tx_buf),
    };

    struct spi_buf_set tx = {
        .buffers = &spi_buf,
        .count = 1,
    };

    int err = spi_write(spispec.bus, NULL, &tx);
    if (err == 0) {
        printk("DAC command sent: 0x%04X (cmd 0x%X, data 0x%03X)\n", word, command, data);
    } else {
        printk("SPI write failed: %d\n", err);
    }
}

void main(void)
{
    if (!device_is_ready(spispec.bus)) {
        printk("DAC SPI device not ready!\n");
        return;
    }

    // Example: Write full-scale (0xFFF) to DAC A using command 0x3 (Write & Update DAC A)
    send_dac_command(0x0F, 0x0FFF);

    while (1) {
        k_sleep(K_SECONDS(1));
        send_dac_command(0x0F, 0x0F21);
    }

}
```

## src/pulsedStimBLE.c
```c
#include <zephyr/kernel.h>
#include <zephyr/device.h>
#include <zephyr/drivers/spi.h>
#include <zephyr/drivers/gpio.h>
#include <zephyr/bluetooth/bluetooth.h>
#include <zephyr/bluetooth/gap.h>
#include <zephyr/bluetooth/gatt.h>
#include <zephyr/bluetooth/uuid.h>
#include <zephyr/sys/printk.h>
#include <zephyr/sys/byteorder.h>

K_MUTEX_DEFINE(params_mutex);

// --- SPI / DAC ---
#define DAC_NODE DT_NODELABEL(max5532)
#define SPIOP (SPI_WORD_SET(8) | SPI_TRANSFER_MSB | SPI_MODE_CPOL | SPI_MODE_CPHA | SPI_CS_ACTIVE_HIGH)

struct spi_dt_spec spispec = SPI_DT_SPEC_GET(DAC_NODE, SPIOP, 0);
const struct device *port1 = DEVICE_DT_GET(DT_NODELABEL(gpio1));
const struct device *port2 = DEVICE_DT_GET(DT_NODELABEL(gpio2));

#define CS1_PIN 10
#define CS2_PIN  5
#define CS3_PIN  8

// --- BLE UUIDs ---
#define BT_UUID_STIM_SERVICE_VAL \
    BT_UUID_128_ENCODE(0x12345678, 0x1234, 0x5678, 0x1234, 0x56789abcdef0)
#define BT_UUID_PULSE_WIDTH_VAL \
    BT_UUID_128_ENCODE(0x12345678, 0x1234, 0x5678, 0x1234, 0x56789abcdef1)
#define BT_UUID_FREQUENCY_VAL \
    BT_UUID_128_ENCODE(0x12345678, 0x1234, 0x5678, 0x1234, 0x56789abcdef2)
#define BT_UUID_AMPLITUDE_VAL \
    BT_UUID_128_ENCODE(0x12345678, 0x1234, 0x5678, 0x1234, 0x56789abcdef3)
#define BT_UUID_STIM_ENABLE_VAL \
    BT_UUID_128_ENCODE(0x12345678, 0x1234, 0x5678, 0x1234, 0x56789abcdef4)

static struct bt_uuid_128 stim_service_uuid = BT_UUID_INIT_128(BT_UUID_STIM_SERVICE_VAL);
static struct bt_uuid_128 pulse_width_uuid  = BT_UUID_INIT_128(BT_UUID_PULSE_WIDTH_VAL);
static struct bt_uuid_128 frequency_uuid    = BT_UUID_INIT_128(BT_UUID_FREQUENCY_VAL);
static struct bt_uuid_128 amplitude_uuid    = BT_UUID_INIT_128(BT_UUID_AMPLITUDE_VAL);
static struct bt_uuid_128 stim_enable_uuid  = BT_UUID_INIT_128(BT_UUID_STIM_ENABLE_VAL);

// --- Stimulation parameters ---
static volatile uint16_t pulse_width_us = 2500;
static volatile uint16_t frequency_hz   = 40;
static volatile uint16_t amplitude_val  = 0xCBA;
static volatile uint8_t  stim_enabled   = 0;

// --- CS control ---
void cs_select(int cs)
{
    gpio_pin_set(port2, CS1_PIN, cs == 1 ? 0 : 1);
    gpio_pin_set(port2, CS2_PIN, cs == 2 ? 0 : 1);
    gpio_pin_set(port2, CS3_PIN, cs == 3 ? 0 : 1);
}

void cs_deselect_all(void)
{
    gpio_pin_set(port2, CS1_PIN, 1);
    gpio_pin_set(port2, CS2_PIN, 1);
    gpio_pin_set(port2, CS3_PIN, 1);
}

// --- MUX control ---
void mux_disable(void)
{
    gpio_pin_set(port1, 6, 0);
}

void mux_enable(void)
{
    gpio_pin_set(port1, 6, 1);
}

void mux_set_phase1(void)
{
    gpio_pin_set(port1, 0, 0);  // MUX1_A0
    gpio_pin_set(port1, 1, 0);  // MUX1_A1 -> Ch1
    gpio_pin_set(port1, 2, 0);  // MUX1_A2
    gpio_pin_set(port1, 3, 0);  // MUX2_A0
    gpio_pin_set(port1, 4, 1);  // MUX2_A1 -> Ch3
    gpio_pin_set(port1, 5, 0);  // MUX2_A2
}

void mux_set_phase2(void)
{
    gpio_pin_set(port1, 0, 0);  // MUX1_A0
    gpio_pin_set(port1, 1, 1);  // MUX1_A1 -> Ch3
    gpio_pin_set(port1, 2, 0);  // MUX1_A2
    gpio_pin_set(port1, 3, 0);  // MUX2_A0
    gpio_pin_set(port1, 4, 0);  // MUX2_A1 -> Ch1
    gpio_pin_set(port1, 5, 0);  // MUX2_A2
}

// --- DAC ---
void send_dac_command(uint8_t command, uint16_t data)
{
    uint16_t word = ((command & 0x0F) << 12) | (data & 0x0FFF);
    uint8_t tx_buf[2] = {
        (uint8_t)(word >> 8),
        (uint8_t)(word & 0xFF)
    };
    struct spi_buf spi_buf = { .buf = tx_buf, .len = sizeof(tx_buf) };
    struct spi_buf_set tx  = { .buffers = &spi_buf, .count = 1 };

    cs_select(1);
    int err = spi_write_dt(&spispec, &tx);
    cs_deselect_all();

    if (err != 0) {
        printk("SPI write failed: %d\n", err);
    }
}


// --- Stimulation cycle ---
void biphasic_stim_cycle(void)
{
    k_mutex_lock(&params_mutex, K_FOREVER);
    uint16_t pw         = pulse_width_us;
    // uint32_t period     = 1000000 / frequency_hz;
    uint16_t freq = *((volatile uint16_t*)&frequency_hz); // make volatile? 
    printk("Freq: %d\n", freq);
    uint32_t period     = 1000000u / (uint32_t)freq; // trying this too
    uint16_t interphase = 250; // CHANGED THIS FROM 250 to 25000! Still need to figure out why this fixes it
    k_mutex_unlock(&params_mutex);

    // Phase 1
    mux_set_phase1();
    mux_enable();
    k_usleep(pw);

    // Interphase
    mux_disable();
    k_usleep(interphase);

    // Phase 2
    mux_set_phase2();
    mux_enable();
    k_usleep(pw);

    // End of cycle
    mux_disable();

    // Remaining period
    uint32_t active_time = (2 * pw) + interphase;
    if (period > active_time) {
        k_usleep(period - active_time);
    }
}

// --- BLE Write Callbacks ---
static ssize_t write_pulse_width(struct bt_conn *conn,
                                  const struct bt_gatt_attr *attr,
                                  const void *buf, uint16_t len,
                                  uint16_t offset, uint8_t flags)
{
    if (len != sizeof(uint16_t)) {
        return BT_GATT_ERR(BT_ATT_ERR_INVALID_ATTRIBUTE_LEN);
    }
    uint16_t val;
    memcpy(&val, buf, len);
    k_mutex_lock(&params_mutex, K_FOREVER);
    pulse_width_us = val;
    k_mutex_unlock(&params_mutex);
    printk("Pulse width updated: %d us\n", pulse_width_us);
    return len;
}

static ssize_t write_frequency(struct bt_conn *conn,
                                const struct bt_gatt_attr *attr,
                                const void *buf, uint16_t len,
                                uint16_t offset, uint8_t flags)
{
    if (len != sizeof(uint16_t)) {
        return BT_GATT_ERR(BT_ATT_ERR_INVALID_ATTRIBUTE_LEN);
    }
    uint16_t val;
    memcpy(&val, buf, len);
    k_mutex_lock(&params_mutex, K_FOREVER);
    frequency_hz = val;
    k_mutex_unlock(&params_mutex);
    printk("Frequency updated: %d Hz\n", frequency_hz);
    return len;
}

static ssize_t write_amplitude(struct bt_conn *conn,
                                const struct bt_gatt_attr *attr,
                                const void *buf, uint16_t len,
                                uint16_t offset, uint8_t flags)
{
    if (len != sizeof(uint16_t)) {
        return BT_GATT_ERR(BT_ATT_ERR_INVALID_ATTRIBUTE_LEN);
    }
    uint16_t val;
    memcpy(&val, buf, len);
    k_mutex_lock(&params_mutex, K_FOREVER);
    amplitude_val = val;
    k_mutex_unlock(&params_mutex);
    send_dac_command(0xF, amplitude_val);
    printk("Amplitude updated: 0x%03X\n", amplitude_val);
    return len;
}

static ssize_t write_stim_enable(struct bt_conn *conn,
                                  const struct bt_gatt_attr *attr,
                                  const void *buf, uint16_t len,
                                  uint16_t offset, uint8_t flags)
{
    if (len != sizeof(uint8_t)) {
        return BT_GATT_ERR(BT_ATT_ERR_INVALID_ATTRIBUTE_LEN);
    }
    memcpy(&stim_enabled, buf, len);
    if (!stim_enabled) {
        mux_disable();
        printk("Stimulation disabled\n");
    } else {
        printk("Stimulation enabled\n");
    }
    return len;
}

// --- GATT Service ---
BT_GATT_SERVICE_DEFINE(stim_svc,
    BT_GATT_PRIMARY_SERVICE(&stim_service_uuid),
    BT_GATT_CHARACTERISTIC(&pulse_width_uuid.uuid,
        BT_GATT_CHRC_WRITE | BT_GATT_CHRC_WRITE_WITHOUT_RESP,
        BT_GATT_PERM_WRITE, NULL, write_pulse_width, &pulse_width_us),
    BT_GATT_CHARACTERISTIC(&frequency_uuid.uuid,
        BT_GATT_CHRC_WRITE | BT_GATT_CHRC_WRITE_WITHOUT_RESP,
        BT_GATT_PERM_WRITE, NULL, write_frequency, &frequency_hz),
    BT_GATT_CHARACTERISTIC(&amplitude_uuid.uuid,
        BT_GATT_CHRC_WRITE | BT_GATT_CHRC_WRITE_WITHOUT_RESP,
        BT_GATT_PERM_WRITE, NULL, write_amplitude, &amplitude_val),
    BT_GATT_CHARACTERISTIC(&stim_enable_uuid.uuid,
        BT_GATT_CHRC_WRITE | BT_GATT_CHRC_WRITE_WITHOUT_RESP,
        BT_GATT_PERM_WRITE, NULL, write_stim_enable, &stim_enabled),
);

// --- BLE Advertising & Connection ---
static const struct bt_data ad[] = {
    BT_DATA_BYTES(BT_DATA_FLAGS,
                  BT_LE_AD_GENERAL | BT_LE_AD_NO_BREDR),
    BT_DATA(BT_DATA_NAME_COMPLETE,
            CONFIG_BT_DEVICE_NAME,
            sizeof(CONFIG_BT_DEVICE_NAME) - 1),
};

static void connected(struct bt_conn *conn, uint8_t err)
{
    if (err) {
        printk("Connection failed: %d\n", err);
        return;
    }
    printk("Connected!\n");
}

static void disconnected(struct bt_conn *conn, uint8_t reason)
{
    printk("Disconnected, reason: %d\n", reason);
    mux_disable();
    stim_enabled = 0;
    bt_le_adv_start(BT_LE_ADV_CONN, ad, ARRAY_SIZE(ad), NULL, 0);
}

static struct bt_conn_cb conn_callbacks = {
    .connected    = connected,
    .disconnected = disconnected,
};

static void bt_ready(int err)
{
    if (err) {
        printk("Bluetooth init failed: %d\n", err);
        return;
    }
    printk("Bluetooth initialized\n");
    bt_conn_cb_register(&conn_callbacks);
    err = bt_le_adv_start(BT_LE_ADV_CONN, ad, ARRAY_SIZE(ad), NULL, 0);
    if (err) {
        printk("Advertising failed to start: %d\n", err);
        return;
    }
    printk("Advertising as '%s'\n", CONFIG_BT_DEVICE_NAME);
}

// --- Main ---
void main(void)
{
    // GPIO init
    gpio_pin_configure(port1, 0, GPIO_OUTPUT); gpio_pin_set(port1, 0, 0);
    gpio_pin_configure(port1, 1, GPIO_OUTPUT); gpio_pin_set(port1, 1, 0);
    gpio_pin_configure(port1, 2, GPIO_OUTPUT); gpio_pin_set(port1, 2, 0);
    gpio_pin_configure(port1, 3, GPIO_OUTPUT); gpio_pin_set(port1, 3, 0);
    gpio_pin_configure(port1, 4, GPIO_OUTPUT); gpio_pin_set(port1, 4, 0);
    gpio_pin_configure(port1, 5, GPIO_OUTPUT); gpio_pin_set(port1, 5, 0);
    gpio_pin_configure(port1, 6, GPIO_OUTPUT); gpio_pin_set(port1, 6, 0);
    gpio_pin_configure(port1, 7, GPIO_OUTPUT); gpio_pin_set(port1, 7, 0);
    gpio_pin_configure(port2, CS1_PIN, GPIO_OUTPUT);
    gpio_pin_configure(port2, CS2_PIN, GPIO_OUTPUT);
    gpio_pin_configure(port2, CS3_PIN, GPIO_OUTPUT);
    cs_deselect_all();

    // DAC init
    k_msleep(10);
    send_dac_command(0xD, 0x800);
    send_dac_command(0xD, 0x800);
    send_dac_command(0xF, amplitude_val);

    // Enable boost
    gpio_pin_set(port1, 7, 1);
    k_msleep(10);

    // BLE init
    int err = bt_enable(bt_ready);
    if (err) {
        printk("bt_enable failed: %d\n", err);
        return;
    }

    printk("System ready. Waiting for BLE commands...\n");

    // Main loop
    while (1) {
        if (stim_enabled) {
            biphasic_stim_cycle();
        } else {
            mux_disable();
            k_msleep(10);
        }
    }
}
```
